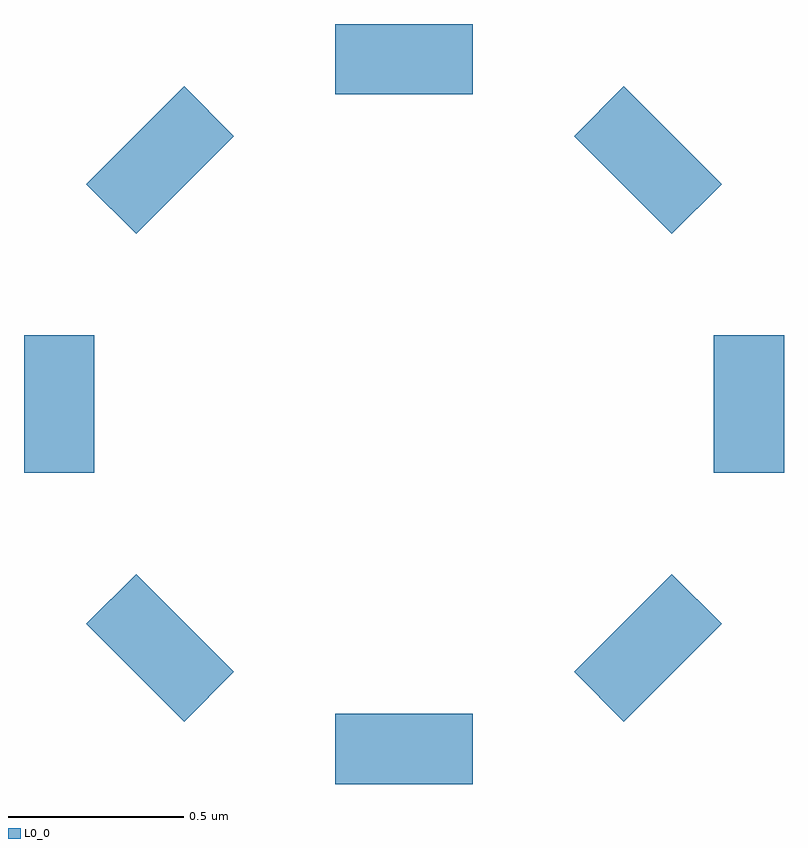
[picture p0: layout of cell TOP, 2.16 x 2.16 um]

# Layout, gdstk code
import gdstk
lib = gdstk.Library(unit=1e-6, precision=1e-09)
def R(c, l, rs):  # rectangles x0, y0, x1, y1
    for r in rs: c.add(gdstk.rectangle(r[:2], r[2:], *l))
def P(c, l, *ps):  # polygons
    for p in ps: c.add(gdstk.Polygon(p, *l))
L0_0 = (0, 0)

top = lib.new_cell('TOP')
R(top, L0_0, [(-0.196,-0.38,0.196,-0.18), (-1.08,0.504,-0.881,0.896), (0.881,0.504,1.08,0.896), (-0.196,1.581,0.196,1.78)])
P(top, L0_0, [(0.625,-0.203),(0.484,-0.061),(0.761,0.216),(0.903,0.075)],
  [(-0.625,-0.203),(-0.903,0.075),(-0.761,0.216),(-0.484,-0.061)],
  [(-0.761,1.184),(-0.903,1.325),(-0.625,1.603),(-0.484,1.461)],
  [(0.761,1.184),(0.484,1.461),(0.625,1.603),(0.903,1.325)])

lib.write_gds('TOP.gds')
